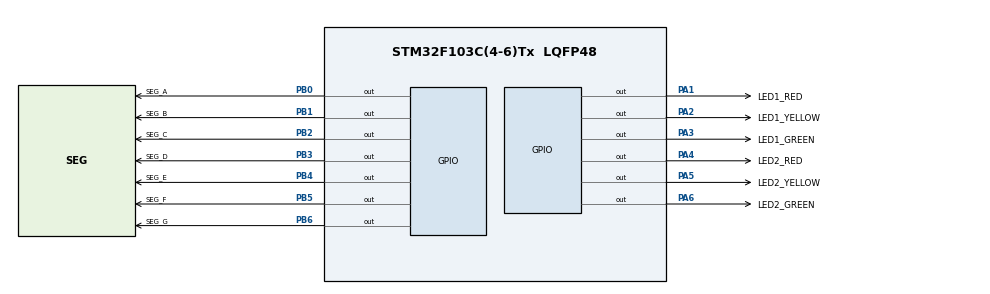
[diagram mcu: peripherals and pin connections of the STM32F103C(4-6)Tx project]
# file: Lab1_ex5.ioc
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Mcu.Family=STM32F1
Mcu.Name=STM32F103C(4-6)Tx
Mcu.Package=LQFP48
NVIC.PriorityGroup=NVIC_PRIORITYGROUP_4
PA1.GPIO_Label=LED1_RED
PA1.Signal=GPIO_Output
PA2.GPIO_Label=LED1_YELLOW
PA2.Signal=GPIO_Output
PA3.GPIO_Label=LED1_GREEN
PA3.Signal=GPIO_Output
PA4.GPIO_Label=LED2_RED
PA4.Signal=GPIO_Output
PA5.GPIO_Label=LED2_YELLOW
PA5.Signal=GPIO_Output
PA6.GPIO_Label=LED2_GREEN
PA6.Signal=GPIO_Output
PB0.GPIO_Label=SEG_A
PB0.Signal=GPIO_Output
PB1.GPIO_Label=SEG_B
PB1.Signal=GPIO_Output
PB2.GPIO_Label=SEG_C
PB2.Signal=GPIO_Output
PB3.GPIO_Label=SEG_D
PB3.Signal=GPIO_Output
PB4.GPIO_Label=SEG_E
PB4.Signal=GPIO_Output
PB5.GPIO_Label=SEG_F
PB5.Signal=GPIO_Output
PB6.GPIO_Label=SEG_G
PB6.Signal=GPIO_Output
ProjectManager.HeapSize=0x200
ProjectManager.StackSize=0x400
ProjectManager.TargetToolchain=STM32CubeIDE
RCC.APB1Freq_Value=8000000
RCC.APB2Freq_Value=8000000
board=custom

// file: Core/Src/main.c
/* USER CODE BEGIN Header */
/**
  ******************************************************************************
  * @file           : main.c
  * @brief          : Main program body
  ******************************************************************************
  * @attention
  *
  * Copyright (c) 2023 STMicroelectronics.
  * All rights reserved.
  *
  * This software is licensed under terms that can be found in the LICENSE file
  * in the root directory of this software component.
  * If no LICENSE file comes with this software, it is provided AS-IS.
  *
  ******************************************************************************
  */
/* USER CODE END Header */
#include "main.h"

/* USER CODE BEGIN Includes */
#include "software_timer.h"
/* USER CODE END Includes */

/* USER CODE BEGIN PV */
enum led_state {
	led1_red_led2_green,	// 3s
	led1_red_led2_yellow,	// 2s
	led1_green_led2_red,	// 3s
	led1_yellow_led2_red	// 2s
};

const int RED_duration = 5;
const int GREEN_duration = 3;
const int YELLOW_duration = 2;
/* USER CODE END PV */

void SystemClock_Config(void);
static void MX_GPIO_Init(void);

/* USER CODE BEGIN 0 */
const uint8_t led_pattern[] = {	// abcdefgh
	    0b1000000, // 0
	    0b1111001, // 1
	    0b0100100, // 2
	    0b0110000, // 3
	    0b0011001, // 4
	    0b0010010, // 5
	    0b0000010, // 6
	    0b1111000, // 7
	    0b0000000, // 8
	    0b0010000  // 9
};

void display7SEG(int n) {
	uint8_t pattern = led_pattern[n];
	HAL_GPIO_WritePin(LED_7SEG_Port, SEG_A_Pin, (pattern >> 0) & 1);
	HAL_GPIO_WritePin(LED_7SEG_Port, SEG_B_Pin, (pattern >> 1) & 1);
	HAL_GPIO_WritePin(LED_7SEG_Port, SEG_C_Pin, (pattern >> 2) & 1);
	HAL_GPIO_WritePin(LED_7SEG_Port, SEG_D_Pin, (pattern >> 3) & 1);
	HAL_GPIO_WritePin(LED_7SEG_Port, SEG_E_Pin, (pattern >> 4) & 1);
	HAL_GPIO_WritePin(LED_7SEG_Port, SEG_F_Pin, (pattern >> 5) & 1);
	HAL_GPIO_WritePin(LED_7SEG_Port, SEG_G_Pin, (pattern >> 6) & 1);
}
/* USER CODE END 0 */

int main(void)
{

  /* MCU Configuration--------------------------------------------------------*/

  /* Reset of all peripherals, Initializes the Flash interface and the Systick. */
  HAL_Init();

  /* Configure the system clock */
  SystemClock_Config();

  /* Initialize all configured peripherals */
  MX_GPIO_Init();

  /* Infinite loop */
  /* USER CODE BEGIN WHILE */
  enum led_state state;
  state = led1_yellow_led2_red;

  setTimer1(300);
  setTimer2(100);
  timer1_flag = 1;
  timer2_flag = 1;
  int counter;

  while (1)
  {
	  if (timer1_flag == 1) {
//		  if (state == led1_red_led2_green) {
//			  state = led1_red_led2_yellow;
//		  } else if (state == led1_red_led2_yellow) {
//			  state = led1_green_led2_red;
//		  } else if (state == led1_green_led2_red){
//			  state = led1_yellow_led2_red;
//		  } else {
//			  state = led1_red_led2_green;
//		  }

		  if (state == led1_red_led2_green) {
			  setTimer1(200);
			  state = led1_red_led2_yellow;
			  counter = 2;
			  HAL_GPIO_WritePin(LED_GPIO_Port, LED1_YELLOW_Pin|LED1_GREEN_Pin, GPIO_PIN_RESET);
			  HAL_GPIO_WritePin(LED_GPIO_Port, LED1_RED_Pin, GPIO_PIN_SET);
			  HAL_GPIO_WritePin(LED_GPIO_Port, LED2_GREEN_Pin|LED2_RED_Pin, GPIO_PIN_RESET);
			  HAL_GPIO_WritePin(LED_GPIO_Port, LED2_YELLOW_Pin, GPIO_PIN_SET);

		  } else if (state == led1_red_led2_yellow) {
			  setTimer1(300);
			  state = led1_green_led2_red;
			  counter = 3;
			  HAL_GPIO_WritePin(LED_GPIO_Port, LED1_RED_Pin|LED1_YELLOW_Pin, GPIO_PIN_RESET);
			  HAL_GPIO_WritePin(LED_GPIO_Port, LED1_GREEN_Pin, GPIO_PIN_SET);
			  HAL_GPIO_WritePin(LED_GPIO_Port, LED2_YELLOW_Pin|LED2_GREEN_Pin, GPIO_PIN_RESET);
			  HAL_GPIO_WritePin(LED_GPIO_Port, LED2_RED_Pin, GPIO_PIN_SET);

		  } else if (state == led1_green_led2_red) {
			  setTimer1(200);
			  state = led1_yellow_led2_red;
			  counter = 2;
			  HAL_GPIO_WritePin(LED_GPIO_Port, LED1_GREEN_Pin|LED1_RED_Pin, GPIO_PIN_RESET);
			  HAL_GPIO_WritePin(LED_GPIO_Port, LED1_YELLOW_Pin, GPIO_PIN_SET);
			  HAL_GPIO_WritePin(LED_GPIO_Port, LED2_YELLOW_Pin|LED2_GREEN_Pin, GPIO_PIN_RESET);
			  HAL_GPIO_WritePin(LED_GPIO_Port, LED2_RED_Pin, GPIO_PIN_SET);

		  } else {
			  setTimer1(300);
			  state = led1_red_led2_green;
			  counter = 5;
			  HAL_GPIO_WritePin(LED_GPIO_Port, LED1_YELLOW_Pin|LED1_GREEN_Pin, GPIO_PIN_RESET);
			  HAL_GPIO_WritePin(LED_GPIO_Port, LED1_RED_Pin, GPIO_PIN_SET);
			  HAL_GPIO_WritePin(LED_GPIO_Port, LED2_YELLOW_Pin|LED2_RED_Pin, GPIO_PIN_RESET);
			  HAL_GPIO_WritePin(LED_GPIO_Port, LED2_GREEN_Pin, GPIO_PIN_SET);
		  }
	  }
	  if (timer2_flag == 1) {
		  setTimer2(100);
		  display7SEG(counter--);
	  }
	  timerRun();
	  HAL_Delay(10);

    /* USER CODE END WHILE */

  }
}

void SystemClock_Config(void)
{
  RCC_OscInitTypeDef RCC_OscInitStruct = {0};
  RCC_ClkInitTypeDef RCC_ClkInitStruct = {0};

  /** Initializes the RCC Oscillators according to the specified parameters
  * in the RCC_OscInitTypeDef structure.
  */
  RCC_OscInitStruct.OscillatorType = RCC_OSCILLATORTYPE_HSI;
  RCC_OscInitStruct.HSIState = RCC_HSI_ON;
  RCC_OscInitStruct.HSICalibrationValue = RCC_HSICALIBRATION_DEFAULT;
  RCC_OscInitStruct.PLL.PLLState = RCC_PLL_NONE;
  if (HAL_RCC_OscConfig(&RCC_OscInitStruct) != HAL_OK)
  {
    Error_Handler();
  }

  /** Initializes the CPU, AHB and APB buses clocks
  */
  RCC_ClkInitStruct.ClockType = RCC_CLOCKTYPE_HCLK|RCC_CLOCKTYPE_SYSCLK
                              |RCC_CLOCKTYPE_PCLK1|RCC_CLOCKTYPE_PCLK2;
  RCC_ClkInitStruct.SYSCLKSource = RCC_SYSCLKSOURCE_HSI;
  RCC_ClkInitStruct.AHBCLKDivider = RCC_SYSCLK_DIV1;
  RCC_ClkInitStruct.APB1CLKDivider = RCC_HCLK_DIV1;
  RCC_ClkInitStruct.APB2CLKDivider = RCC_HCLK_DIV1;

  if (HAL_RCC_ClockConfig(&RCC_ClkInitStruct, FLASH_LATENCY_0) != HAL_OK)
  {
    Error_Handler();
  }
}

static void MX_GPIO_Init(void)
{
  GPIO_InitTypeDef GPIO_InitStruct = {0};

  /* GPIO Ports Clock Enable */
  __HAL_RCC_GPIOA_CLK_ENABLE();
  __HAL_RCC_GPIOB_CLK_ENABLE();

  /*Configure GPIO pin Output Level */
  HAL_GPIO_WritePin(GPIOA, LED1_RED_Pin|LED1_YELLOW_Pin|LED1_GREEN_Pin|LED2_RED_Pin
                          |LED2_YELLOW_Pin|LED2_GREEN_Pin, GPIO_PIN_RESET);

  /*Configure GPIO pin Output Level */
  HAL_GPIO_WritePin(GPIOB, SEG_A_Pin|SEG_B_Pin|SEG_C_Pin|SEG_D_Pin
                          |SEG_E_Pin|SEG_F_Pin|SEG_G_Pin, GPIO_PIN_RESET);

  /*Configure GPIO pins : LED1_RED_Pin LED1_YELLOW_Pin LED1_GREEN_Pin LED2_RED_Pin
                           LED2_YELLOW_Pin LED2_GREEN_Pin */
  GPIO_InitStruct.Pin = LED1_RED_Pin|LED1_YELLOW_Pin|LED1_GREEN_Pin|LED2_RED_Pin
                          |LED2_YELLOW_Pin|LED2_GREEN_Pin;
  GPIO_InitStruct.Mode = GPIO_MODE_OUTPUT_PP;
  GPIO_InitStruct.Pull = GPIO_NOPULL;
  GPIO_InitStruct.Speed = GPIO_SPEED_FREQ_LOW;
  HAL_GPIO_Init(GPIOA, &GPIO_InitStruct);

  /*Configure GPIO pins : SEG_A_Pin SEG_B_Pin SEG_C_Pin SEG_D_Pin
                           SEG_E_Pin SEG_F_Pin SEG_G_Pin */
  GPIO_InitStruct.Pin = SEG_A_Pin|SEG_B_Pin|SEG_C_Pin|SEG_D_Pin
                          |SEG_E_Pin|SEG_F_Pin|SEG_G_Pin;
  GPIO_InitStruct.Mode = GPIO_MODE_OUTPUT_PP;
  GPIO_InitStruct.Pull = GPIO_NOPULL;
  GPIO_InitStruct.Speed = GPIO_SPEED_FREQ_LOW;
  HAL_GPIO_Init(GPIOB, &GPIO_InitStruct);

}

void Error_Handler(void)
{
  __disable_irq();
  while (1)
  {
  }
}
